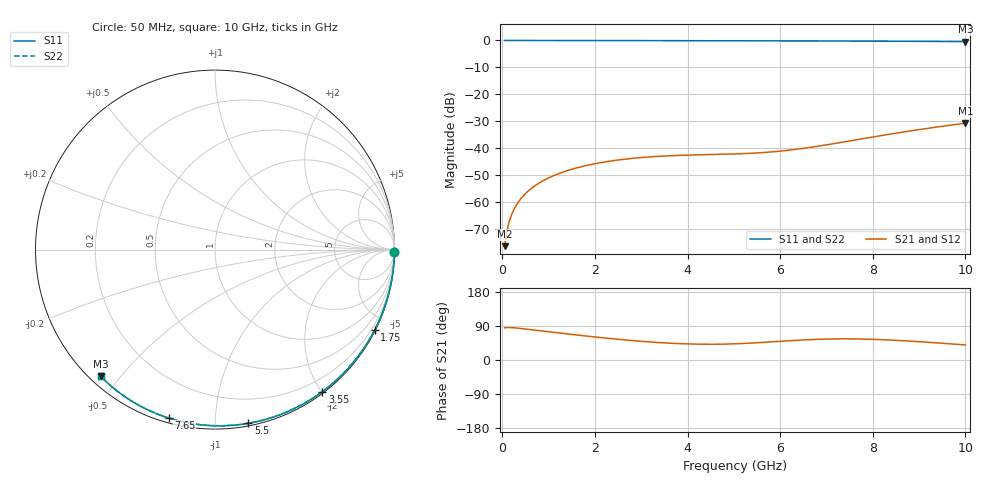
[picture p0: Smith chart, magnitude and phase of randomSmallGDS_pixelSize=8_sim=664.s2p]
! freq	dB(S11)	phase(S11)	dB(S12)	phase(S12)
!  dB(S21)	phase(S21)	dB(S22)	phase(S22)
!S-par simulation data
#  GHz  S  DB  R 50
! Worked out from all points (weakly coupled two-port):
!   200 points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, 50 MHz to 10 GHz, reference 50 ohm
!   highest |S21| = -30.72 dB at 10 GHz (marker M1); lowest = -76.4 dB at 50 MHz (marker M2)
!   lowest |S11| = -0.4 dB at 10 GHz (marker M3), VSWR 39.68, Z = 1.51 - j22.3 ohm
!   |S11| at or under -10 dB: nowhere
!   |S22| runs from -0.4 to 0.0 dB; largest |S21 - S12| = 0
!   S11 on the Smith chart (normalised r, x): 50 MHz: open; 1.75 GHz: 0.04, -4.21; 3.55 GHz: 0.02, -2.01; 5.5 GHz: 0.02, -1.21; 7.65 GHz: 0.02, -0.76; 10 GHz: 0.03, -0.45
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0.05  -0.00 -0.8  -76.43 84.9  -76.43 84.9  -0.00 -0.8
0.1  -0.00 -1.6  -70.69 85.7  -70.69 85.7  -0.00 -1.6
0.15  -0.00 -2.3  -67.24 85.8  -67.24 85.8  -0.00 -2.3
0.2  -0.00 -3.1  -64.77 85.5  -64.77 85.5  -0.00 -3.1
0.25  -0.00 -3.9  -62.85 85.0  -62.85 85.0  -0.00 -3.9
0.35  -0.00 -5.4  -59.96 83.8  -59.96 83.8  -0.00 -5.4
0.5  -0.01 -7.7  -56.90 81.8  -56.90 81.8  -0.01 -7.7
0.7  -0.01 -10.8  -54.04 78.9  -54.04 78.9  -0.01 -10.8
1  -0.02 -15.4  -51.07 74.6  -51.07 74.6  -0.02 -15.4
1.35  -0.03 -20.7  -48.67 69.6  -48.67 69.6  -0.03 -20.7
1.75  -0.03 -26.7  -46.72 64.0  -46.72 64.0  -0.03 -26.7
2.5  -0.05 -37.8  -44.42 54.6  -44.42 54.6  -0.05 -37.8
3.4  -0.07 -50.8  -43.03 45.9  -43.03 45.9  -0.07 -50.8
3.55  -0.07 -52.9  -42.89 44.8  -42.89 44.8  -0.07 -52.9
4.3  -0.09 -63.3  -42.47 41.7  -42.47 41.7  -0.09 -63.3
5.05  -0.11 -73.3  -42.15 42.8  -42.15 42.8  -0.11 -73.3
5.5  -0.13 -79.1  -41.81 45.5  -41.81 45.5  -0.13 -79.1
6.05  -0.15 -86.1  -41.04 49.7  -41.04 49.7  -0.15 -86.1
6.7  -0.18 -94.1  -39.60 54.1  -39.60 54.1  -0.18 -94.1
7.65  -0.24 -105.4  -36.90 55.6  -36.90 55.6  -0.24 -105.4
8.35  -0.29 -113.5  -34.87 52.8  -34.87 52.8  -0.29 -113.5
10  -0.44 -132.0  -30.72 39.7  -30.72 39.7  -0.44 -132.0
